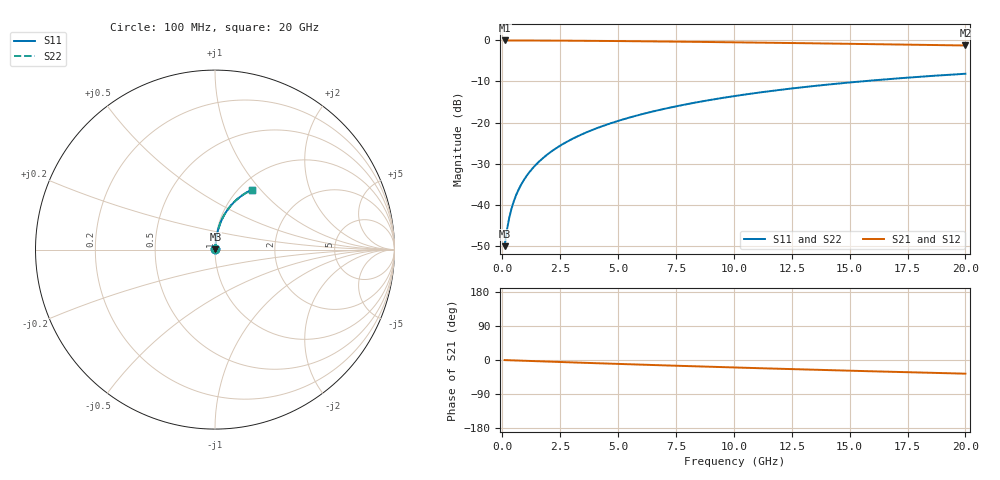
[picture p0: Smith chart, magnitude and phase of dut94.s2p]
! Touchstone file exported from HFSS 2024.1.0
!  File:  C:/UserFiles/LocalFiles/RDL_TSV_Batchsim/temp_RDL_bottom_94_1778694934.aedt
!  Generated:  01:58:06 AM May 14, 2026
!  Design:  RDL_bottom
!  Project:  temp_RDL_bottom_94_1778694934
!  Setup:  Setup1
!  Solution:  Sweep
! Variables:
!  dtsv = 10.80580581um
!  hbump = 3um
!  htsv = 60.06um
!  ldown = 469.78um
!  lrdl = 100um
!  p = 40
!  p1 = 53.19um
!  rhole = 1um
!  t = 450um
!  tdown = 4.82um
!  trdl = 3.915915916um
!  wdown = 16.15um
!  wrdl = 20um
# GHz S MA R 50.000000
! Terminal data exported
! Port[1] = RDL1_T1
! Port[2] = RDL1_T2
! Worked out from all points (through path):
!   200 points, 100 MHz to 20 GHz, reference 50 ohm
!   highest |S21| = -0.02 dB at 100 MHz (marker M1); lowest = -1.2 dB at 20 GHz (marker M2)
!   group delay of S21, straight-line fit = 4.99 ps
!   lowest |S11| = -50.1 dB at 100 MHz (marker M3), VSWR 1.01, Z = 50.2 + j0.22 ohm
!   |S11| at or under -10 dB: start of sweep to 15.47 GHz
!   |S22| runs from -50.1 to -8.1 dB; largest |S21 - S12| = 2.6e-15
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0.1  0.003139 44.2  0.9977 -0.2  0.9977 -0.2  0.003139 44.2
! Gamma 0 0 0 0
! Port Impedance 50 0 50 0
0.2  0.00494 62.2  0.9977 -0.4  0.9977 -0.4  0.00494 62.2
0.3  0.006954 69.9  0.9975 -0.7  0.9975 -0.7  0.006954 69.9
0.4  0.009021 73.9  0.9974 -0.9  0.9974 -0.9  0.009021 73.9
0.5  0.0111 76.4  0.9973 -1.1  0.9973 -1.1  0.0111 76.4
0.7  0.01524 79.1  0.997 -1.5  0.997 -1.5  0.01524 79.1
0.8  0.01731 80.0  0.9969 -1.7  0.9969 -1.7  0.01731 80.0
1  0.02143 81.2  0.9966 -2.1  0.9966 -2.1  0.02143 81.2
1.2  0.02554 82.0  0.9963 -2.6  0.9963 -2.6  0.02554 82.0
1.4  0.02966 82.6  0.9959 -3.0  0.9959 -3.0  0.02966 82.6
1.7  0.03584 83.1  0.9952 -3.6  0.9952 -3.6  0.03584 83.1
2  0.04205 83.3  0.9944 -4.2  0.9944 -4.2  0.04205 83.3
2.7  0.05658 83.4  0.9921 -5.7  0.9921 -5.7  0.05658 83.4
3.5  0.07328 83.0  0.9888 -7.3  0.9888 -7.3  0.07328 83.0
4.2  0.08796 82.4  0.9855 -8.8  0.9855 -8.8  0.08796 82.4
5  0.1048 81.6  0.9812 -10.3  0.9812 -10.3  0.1048 81.5
6.8  0.1428 79.2  0.9702 -13.8  0.9702 -13.8  0.1428 79.2
8.4  0.1765 76.9  0.9594 -16.8  0.9594 -16.8  0.1765 76.9
10.1  0.2118 74.2  0.947 -19.9  0.947 -19.9  0.2117 74.2
13.4  0.2775 68.8  0.9215 -25.6  0.9215 -25.6  0.2775 68.8
16.7  0.3381 63.4  0.8944 -31.0  0.8944 -31.0  0.3381 63.4
20  0.3927 58.2  0.8666 -36.1  0.8666 -36.1  0.3927 58.2
